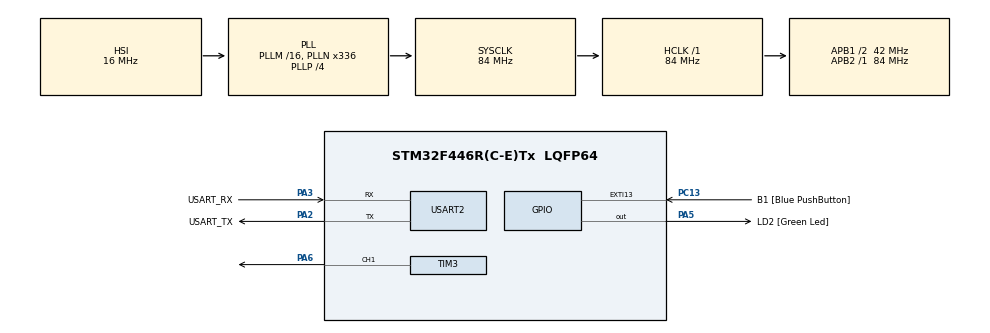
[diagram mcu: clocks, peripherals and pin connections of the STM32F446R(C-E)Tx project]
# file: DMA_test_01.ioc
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Dma.Request0=TIM3_CH1/TRIG
Dma.TIM3_CH1/TRIG.0.Direction=DMA_MEMORY_TO_PERIPH
Dma.TIM3_CH1/TRIG.0.FIFOMode=DMA_FIFOMODE_DISABLE
Dma.TIM3_CH1/TRIG.0.Instance=DMA1_Stream4
Dma.TIM3_CH1/TRIG.0.MemDataAlignment=DMA_MDATAALIGN_HALFWORD
Dma.TIM3_CH1/TRIG.0.MemInc=DMA_MINC_ENABLE
Dma.TIM3_CH1/TRIG.0.Mode=DMA_NORMAL
Dma.TIM3_CH1/TRIG.0.PeriphDataAlignment=DMA_PDATAALIGN_HALFWORD
Dma.TIM3_CH1/TRIG.0.PeriphInc=DMA_PINC_DISABLE
Dma.TIM3_CH1/TRIG.0.Priority=DMA_PRIORITY_LOW
Mcu.Family=STM32F4
Mcu.Name=STM32F446R(C-E)Tx
Mcu.Package=LQFP64
NVIC.DMA1_Stream4_IRQn=true\:0\:0\:false\:false\:true\:false\:true\:true
NVIC.PriorityGroup=NVIC_PRIORITYGROUP_0
PA13.GPIO_Label=TMS
PA13.Mode=Serial_Wire
PA13.Signal=SYS_JTMS-SWDIO
PA14.GPIO_Label=TCK
PA14.Mode=Serial_Wire
PA14.Signal=SYS_JTCK-SWCLK
PA2.GPIO_Label=USART_TX
PA2.Mode=Asynchronous
PA2.Signal=USART2_TX
PA3.GPIO_Label=USART_RX
PA3.Mode=Asynchronous
PA3.Signal=USART2_RX
PA5.GPIO_Label=LD2 [Green Led]
PA5.Signal=GPIO_Output
PA6.Signal=S_TIM3_CH1
PB3.GPIO_Label=SWO
PB3.Signal=SYS_JTDO-SWO
PC13.GPIO_Label=B1 [Blue PushButton]
PC13.GPIO_ModeDefaultEXTI=GPIO_MODE_IT_FALLING
PC13.Signal=GPXTI13
PC14-OSC32_IN.Mode=LSE-External-Oscillator
PC14-OSC32_IN.Signal=RCC_OSC32_IN
PC15-OSC32_OUT.Mode=LSE-External-Oscillator
PC15-OSC32_OUT.Signal=RCC_OSC32_OUT
PH0-OSC_IN.Mode=HSE-External-Oscillator
PH0-OSC_IN.Signal=RCC_OSC_IN
PH1-OSC_OUT.Mode=HSE-External-Oscillator
PH1-OSC_OUT.Signal=RCC_OSC_OUT
ProjectManager.HeapSize=0x200
ProjectManager.StackSize=0x400
ProjectManager.TargetToolchain=STM32CubeIDE
RCC.48MHZClocksFreq_Value=84000000
RCC.AHBFreq_Value=84000000
RCC.APB1CLKDivider=RCC_HCLK_DIV2
RCC.APB1Freq_Value=42000000
RCC.APB1TimFreq_Value=84000000
RCC.APB2Freq_Value=84000000
RCC.APB2TimFreq_Value=84000000
RCC.CortexFreq_Value=84000000
RCC.FLatency-AdvancedSettings=FLASH_LATENCY_2
RCC.HCLKFreq_Value=84000000
RCC.HSE_VALUE=8000000
RCC.HSI_VALUE=16000000
RCC.PLLN=336
RCC.PLLP=RCC_PLLP_DIV4
RCC.SYSCLKFreq_VALUE=84000000
RCC.SYSCLKSource=RCC_SYSCLKSOURCE_PLLCLK
RCC.USBFreq_Value=168000000
RCC.VCOOutputFreq_Value=336000000
SH.S_TIM3_CH1.0=TIM3_CH1,PWM Generation1 CH1
TIM3.Channel-PWM\ Generation1\ CH1=TIM_CHANNEL_1
TIM3.Period=104
TIM3.Pulse-PWM\ Generation1\ CH1=34
USART2.VirtualMode=VM_ASYNC
board=NUCLEO-F446RE

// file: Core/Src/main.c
/* USER CODE BEGIN Header */
/**
  ******************************************************************************
  * @file           : main.c
  * @brief          : Main program body
  ******************************************************************************
  * @attention
  *
  * Copyright (c) 2026 STMicroelectronics.
  * All rights reserved.
  *
  * This software is licensed under terms that can be found in the LICENSE file
  * in the root directory of this software component.
  * If no LICENSE file comes with this software, it is provided AS-IS.
  *
  ******************************************************************************
  */
/* USER CODE END Header */
#include "main.h"

/* USER CODE BEGIN Includes */
#include <stdio.h>
/* USER CODE END Includes */

/* USER CODE BEGIN PTD */
#define LED_0 34
#define LED_1 67

// グローバル
uint16_t dma_data[88];
/* USER CODE END PTD */

TIM_HandleTypeDef htim3;
DMA_HandleTypeDef hdma_tim3_ch1_trig;

UART_HandleTypeDef huart2;

void SystemClock_Config(void);
static void MX_GPIO_Init(void);
static void MX_DMA_Init(void);
static void MX_USART2_UART_Init(void);
static void MX_TIM3_Init(void);
/* USER CODE BEGIN PFP */

int _write(int file, char *ptr, int len)
{
	HAL_UART_Transmit(&huart2, (uint8_t*)ptr, len, HAL_MAX_DELAY);
	return len;
}

/*
 * (8bit → PWMのCCR値8個へ変換) × 3
 *
 * 例:
 * 0xA5 = 10100101
 *
 * → 67, 34, 67, 34, 34, 67, 34, 67
 */
void MakeDMAData(uint8_t data_g, uint8_t data_r, uint8_t data_b)
{
    // LED 1
    for (int i = 0; i < 8; i++)
    {
        dma_data[i] =
            (data_g & (1 << (7 - i))) ? LED_1 : LED_0;

        dma_data[8 + i] =
            (data_r & (1 << (7 - i))) ? LED_1 : LED_0;

        dma_data[16 + i] =
            (data_b & (1 << (7 - i))) ? LED_1 : LED_0;
    }

    // LED 2
    for (int i = 0; i < 8; i++)
    {
        dma_data[24 + i] =
            (data_g & (1 << (7 - i))) ? LED_1 : LED_0;

        dma_data[32 + i] =
            (data_r & (1 << (7 - i))) ? LED_1 : LED_0;

        dma_data[40 + i] =
            (data_b & (1 << (7 - i))) ? LED_1 : LED_0;
    }

    // RESET
    for (int i = 48; i < 88; i++)
    {
        dma_data[i] = 0;
    }
}
/* USER CODE END PFP */

int main(void)
{

  /* MCU Configuration--------------------------------------------------------*/

  /* Reset of all peripherals, Initializes the Flash interface and the Systick. */
  HAL_Init();

  /* Configure the system clock */
  SystemClock_Config();

  /* Initialize all configured peripherals */
  MX_GPIO_Init();
  MX_DMA_Init();
  MX_USART2_UART_Init();
  MX_TIM3_Init();

  /* Infinite loop */
  /* USER CODE BEGIN WHILE */
while(1){
  MakeDMAData(255, 0, 0);

  printf("DMA DATA:\r\n");
  for (int i = 0; i < 64; i++)
  {
      printf("%d: %u\r\n", i, dma_data[i]);
  }

  __HAL_TIM_ENABLE_OCxPRELOAD(&htim3, TIM_CHANNEL_1);

	  // TIM3 CH1でPWM + DMA開始
  if(HAL_TIM_PWM_Start_DMA(
		  &htim3,
		  TIM_CHANNEL_1,
		  (uint32_t *)dma_data,
		  88
  ) != HAL_OK){
	  Error_Handler();
  }else{
	  printf("DMA Start OK\r\n");
  }
}

  while (1)
  {
    /* USER CODE END WHILE */

  }
}

void SystemClock_Config(void)
{
  RCC_OscInitTypeDef RCC_OscInitStruct = {0};
  RCC_ClkInitTypeDef RCC_ClkInitStruct = {0};

  /** Configure the main internal regulator output voltage
  */
  __HAL_RCC_PWR_CLK_ENABLE();
  __HAL_PWR_VOLTAGESCALING_CONFIG(PWR_REGULATOR_VOLTAGE_SCALE3);

  /** Initializes the RCC Oscillators according to the specified parameters
  * in the RCC_OscInitTypeDef structure.
  */
  RCC_OscInitStruct.OscillatorType = RCC_OSCILLATORTYPE_HSI;
  RCC_OscInitStruct.HSIState = RCC_HSI_ON;
  RCC_OscInitStruct.HSICalibrationValue = RCC_HSICALIBRATION_DEFAULT;
  RCC_OscInitStruct.PLL.PLLState = RCC_PLL_ON;
  RCC_OscInitStruct.PLL.PLLSource = RCC_PLLSOURCE_HSI;
  RCC_OscInitStruct.PLL.PLLM = 16;
  RCC_OscInitStruct.PLL.PLLN = 336;
  RCC_OscInitStruct.PLL.PLLP = RCC_PLLP_DIV4;
  RCC_OscInitStruct.PLL.PLLQ = 2;
  RCC_OscInitStruct.PLL.PLLR = 2;
  if (HAL_RCC_OscConfig(&RCC_OscInitStruct) != HAL_OK)
  {
    Error_Handler();
  }

  /** Initializes the CPU, AHB and APB buses clocks
  */
  RCC_ClkInitStruct.ClockType = RCC_CLOCKTYPE_HCLK|RCC_CLOCKTYPE_SYSCLK
                              |RCC_CLOCKTYPE_PCLK1|RCC_CLOCKTYPE_PCLK2;
  RCC_ClkInitStruct.SYSCLKSource = RCC_SYSCLKSOURCE_PLLCLK;
  RCC_ClkInitStruct.AHBCLKDivider = RCC_SYSCLK_DIV1;
  RCC_ClkInitStruct.APB1CLKDivider = RCC_HCLK_DIV2;
  RCC_ClkInitStruct.APB2CLKDivider = RCC_HCLK_DIV1;

  if (HAL_RCC_ClockConfig(&RCC_ClkInitStruct, FLASH_LATENCY_2) != HAL_OK)
  {
    Error_Handler();
  }
}

static void MX_TIM3_Init(void)
{

  TIM_MasterConfigTypeDef sMasterConfig = {0};
  TIM_OC_InitTypeDef sConfigOC = {0};

  htim3.Instance = TIM3;
  htim3.Init.Prescaler = 0;
  htim3.Init.CounterMode = TIM_COUNTERMODE_UP;
  htim3.Init.Period = 104;
  htim3.Init.ClockDivision = TIM_CLOCKDIVISION_DIV1;
  htim3.Init.AutoReloadPreload = TIM_AUTORELOAD_PRELOAD_DISABLE;
  if (HAL_TIM_PWM_Init(&htim3) != HAL_OK)
  {
    Error_Handler();
  }
  sMasterConfig.MasterOutputTrigger = TIM_TRGO_RESET;
  sMasterConfig.MasterSlaveMode = TIM_MASTERSLAVEMODE_DISABLE;
  if (HAL_TIMEx_MasterConfigSynchronization(&htim3, &sMasterConfig) != HAL_OK)
  {
    Error_Handler();
  }
  sConfigOC.OCMode = TIM_OCMODE_PWM1;
  sConfigOC.Pulse = 34;
  sConfigOC.OCPolarity = TIM_OCPOLARITY_HIGH;
  sConfigOC.OCFastMode = TIM_OCFAST_DISABLE;
  if (HAL_TIM_PWM_ConfigChannel(&htim3, &sConfigOC, TIM_CHANNEL_1) != HAL_OK)
  {
    Error_Handler();
  }
  HAL_TIM_MspPostInit(&htim3);

}

static void MX_USART2_UART_Init(void)
{

  huart2.Instance = USART2;
  huart2.Init.BaudRate = 115200;
  huart2.Init.WordLength = UART_WORDLENGTH_8B;
  huart2.Init.StopBits = UART_STOPBITS_1;
  huart2.Init.Parity = UART_PARITY_NONE;
  huart2.Init.Mode = UART_MODE_TX_RX;
  huart2.Init.HwFlowCtl = UART_HWCONTROL_NONE;
  huart2.Init.OverSampling = UART_OVERSAMPLING_16;
  if (HAL_UART_Init(&huart2) != HAL_OK)
  {
    Error_Handler();
  }

}

static void MX_DMA_Init(void)
{

  /* DMA controller clock enable */
  __HAL_RCC_DMA1_CLK_ENABLE();

  /* DMA interrupt init */
  /* DMA1_Stream4_IRQn interrupt configuration */
  HAL_NVIC_SetPriority(DMA1_Stream4_IRQn, 0, 0);
  HAL_NVIC_EnableIRQ(DMA1_Stream4_IRQn);

}

static void MX_GPIO_Init(void)
{
  GPIO_InitTypeDef GPIO_InitStruct = {0};

  /* GPIO Ports Clock Enable */
  __HAL_RCC_GPIOC_CLK_ENABLE();
  __HAL_RCC_GPIOH_CLK_ENABLE();
  __HAL_RCC_GPIOA_CLK_ENABLE();
  __HAL_RCC_GPIOB_CLK_ENABLE();

  /*Configure GPIO pin Output Level */
  HAL_GPIO_WritePin(LD2_GPIO_Port, LD2_Pin, GPIO_PIN_RESET);

  /*Configure GPIO pin : B1_Pin */
  GPIO_InitStruct.Pin = B1_Pin;
  GPIO_InitStruct.Mode = GPIO_MODE_IT_FALLING;
  GPIO_InitStruct.Pull = GPIO_NOPULL;
  HAL_GPIO_Init(B1_GPIO_Port, &GPIO_InitStruct);

  /*Configure GPIO pin : LD2_Pin */
  GPIO_InitStruct.Pin = LD2_Pin;
  GPIO_InitStruct.Mode = GPIO_MODE_OUTPUT_PP;
  GPIO_InitStruct.Pull = GPIO_NOPULL;
  GPIO_InitStruct.Speed = GPIO_SPEED_FREQ_LOW;
  HAL_GPIO_Init(LD2_GPIO_Port, &GPIO_InitStruct);

}

void Error_Handler(void)
{
  __disable_irq();
  while (1)
  {
  }
}
